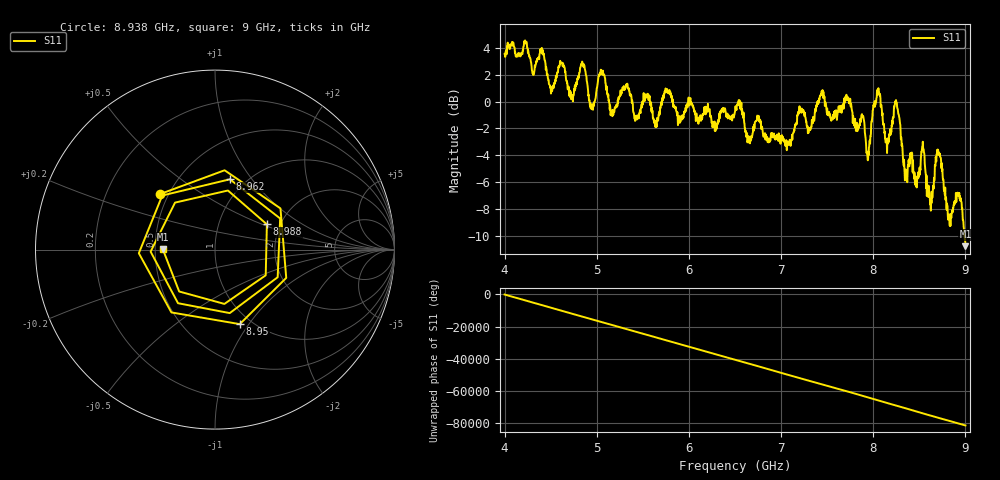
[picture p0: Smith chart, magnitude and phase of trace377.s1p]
! Created with skrf 1.8.0 (http://scikit-rf.org).
# Hz S RI R 50.0
!freq ReS11 ImS11
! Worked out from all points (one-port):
!   1601 points, 4 GHz to 9 GHz, reference 50 ohm
!   lowest |S11| = -10.7 dB at 9 GHz (marker M1), VSWR 1.82, Z = 27.5 + j0.0508 ohm
!   |S11| at or under -10 dB: 8.991177 GHz to end of sweep
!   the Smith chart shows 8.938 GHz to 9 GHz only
!   S11 on the Smith chart (normalised r, x): 8.938 GHz: 0.45, +0.34; 8.95 GHz: 0.88, -0.91; 8.962 GHz: 0.84, +0.79; 8.988 GHz: 1.71, +0.54; 9 GHz: 0.55, +0.00
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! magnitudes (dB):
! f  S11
! 4 GHz  3.5
! 4.403 GHz  4.0
! 4.509 GHz  0.8
! 4.625 GHz  2.9
! 4.725 GHz  0.5
! 4.844 GHz  2.9
! 4.941 GHz  -0.5
! 5.047 GHz  2.1
! 5.166 GHz  -0.6
! 5.25 GHz  0.4
! 5.875 GHz  -0.8
! 6.5 GHz  -0.8
! 7.125 GHz  -2.4
! 7.75 GHz  0.2
! 7.941 GHz  -4.4
! 8.05 GHz  0.9
! 8.15 GHz  -3.8
! 8.25 GHz  0.0
! 8.375 GHz  -4.8
! 8.541 GHz  -3.5
! 8.619 GHz  -7.7
! 8.712 GHz  -3.9
! 8.822 GHz  -8.6
! 8.938 GHz  -7.2
! 8.95 GHz  -7.2
! 8.962 GHz  -8.0
! 8.988 GHz  -9.9
! 9 GHz  -10.7
